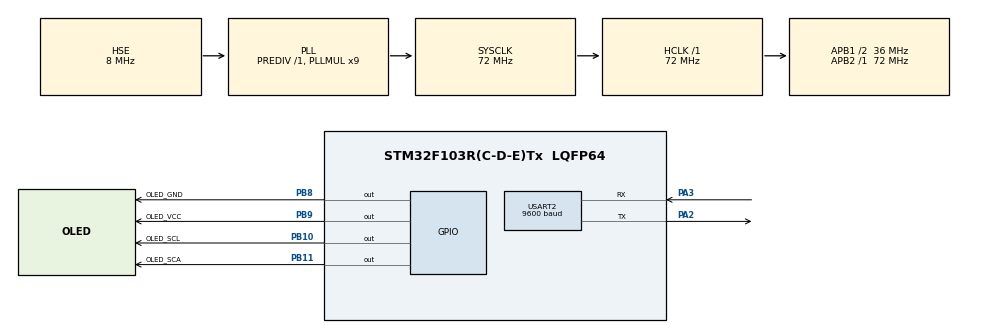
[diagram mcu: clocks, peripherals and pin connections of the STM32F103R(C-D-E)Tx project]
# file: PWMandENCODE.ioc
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FREERTOS.Queues01=myQueue01,1,uint8_t,0,Dynamic,NULL,NULL
FREERTOS.Tasks01=defaultTask,24,128,StartDefaultTask,Default,NULL,Dynamic,NULL,NULL;myTask02,8,128,StartTask02,Default,NULL,Dynamic,NULL,NULL;myTask03,8,128,StartTask03,Default,NULL,Dynamic,NULL,NULL;myTask04,8,128,StartTask04,Default,NULL,Dynamic,NULL,NULL
Mcu.Family=STM32F1
Mcu.Name=STM32F103R(C-D-E)Tx
Mcu.Package=LQFP64
NVIC.PriorityGroup=NVIC_PRIORITYGROUP_4
NVIC.TIM1_UP_IRQn=true\:5\:0\:false\:false\:true\:true\:true\:true\:true
NVIC.TIM3_IRQn=true\:15\:0\:false\:false\:true\:false\:false\:true\:true
NVIC.TimeBase=TIM3_IRQn
NVIC.TimeBaseIP=TIM3
PA13.Mode=Serial_Wire
PA13.Signal=SYS_JTMS-SWDIO
PA14.Mode=Serial_Wire
PA14.Signal=SYS_JTCK-SWCLK
PA2.Mode=Asynchronous
PA2.Signal=USART2_TX
PA3.Mode=Asynchronous
PA3.Signal=USART2_RX
PB10.GPIO_Label=OLED_SCL
PB10.GPIO_ModeDefaultOutputPP=GPIO_MODE_OUTPUT_OD
PB10.GPIO_PuPd=GPIO_NOPULL
PB10.PinState=GPIO_PIN_SET
PB10.Signal=GPIO_Output
PB11.GPIO_Label=OLED_SCA
PB11.GPIO_ModeDefaultOutputPP=GPIO_MODE_OUTPUT_OD
PB11.GPIO_PuPd=GPIO_NOPULL
PB11.PinState=GPIO_PIN_SET
PB11.Signal=GPIO_Output
PB8.GPIO_Label=OLED_GND
PB8.PinState=GPIO_PIN_RESET
PB8.Signal=GPIO_Output
PB9.GPIO_Label=OLED_VCC
PB9.PinState=GPIO_PIN_SET
PB9.Signal=GPIO_Output
PC14-OSC32_IN.Mode=LSE-External-Oscillator
PC14-OSC32_IN.Signal=RCC_OSC32_IN
PC15-OSC32_OUT.Mode=LSE-External-Oscillator
PC15-OSC32_OUT.Signal=RCC_OSC32_OUT
PD0-OSC_IN.Mode=HSE-External-Oscillator
PD0-OSC_IN.Signal=RCC_OSC_IN
PD1-OSC_OUT.Mode=HSE-External-Oscillator
PD1-OSC_OUT.Signal=RCC_OSC_OUT
ProjectManager.HeapSize=0x200
ProjectManager.StackSize=0x400
ProjectManager.TargetToolchain=MDK-ARM V5
RCC.AHBFreq_Value=72000000
RCC.APB1CLKDivider=RCC_HCLK_DIV2
RCC.APB1Freq_Value=36000000
RCC.APB1TimFreq_Value=72000000
RCC.APB2Freq_Value=72000000
RCC.APB2TimFreq_Value=72000000
RCC.HCLKFreq_Value=72000000
RCC.PLLMUL=RCC_PLL_MUL9
RCC.PLLSourceVirtual=RCC_PLLSOURCE_HSE
RCC.RTCClockSelection=RCC_RTCCLKSOURCE_LSE
RCC.SYSCLKFreq_VALUE=72000000
RCC.SYSCLKSource=RCC_SYSCLKSOURCE_PLLCLK
RCC.USBFreq_Value=72000000
RTC.AutoPrediv=RTC_AUTO_1_SECOND
RTC.Format=RTC_FORMAT_BIN
TIM1.AutoReloadPreload=TIM_AUTORELOAD_PRELOAD_ENABLE
TIM1.Period=10000
TIM1.Prescaler=72
USART2.BaudRate=9600
USART2.VirtualMode=VM_ASYNC
VP_FREERTOS_VS_CMSIS_V2.Mode=CMSIS_V2
VP_RTC_VS_RTC_Activate.Mode=RTC_Enabled
VP_RTC_VS_RTC_Calendar.Mode=RTC_Calendar
VP_SYS_VS_tim3.Mode=TIM3
VP_TIM1_VS_ClockSourceINT.Mode=Internal
board=custom

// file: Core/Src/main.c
/* USER CODE BEGIN Header */
/**
  ******************************************************************************
  * @file           : main.c
  * @brief          : Main program body
  ******************************************************************************
  * @attention
  *
  * Copyright (c) 2026 STMicroelectronics.
  * All rights reserved.
  *
  * This software is licensed under terms that can be found in the LICENSE file
  * in the root directory of this software component.
  * If no LICENSE file comes with this software, it is provided AS-IS.
  *
  ******************************************************************************
  */
/* USER CODE END Header */
#include "main.h"
#include "cmsis_os.h"
#include "rtc.h"
#include "tim.h"
#include "usart.h"
#include "gpio.h"

/* USER CODE BEGIN Includes */
#include <stdio.h>
#include <string.h>
#include <time.h>
#include "OLED.h"

/* USER CODE END Includes */

/* USER CODE BEGIN PM */
void Set_Time(void);
void Read_Time(void);
/* USER CODE END PM */

/* USER CODE BEGIN PV */
//#if (__ARMCC_VERSION >= 6010050)
//__asm(".global __use_no_semihosting\n\t"); // ARMCC6
//#else
//#pragma import(__use_no_semihosting) // ARMCC5
//#endif

uint32_t a=1,b=5;
char ch_library[4][16] __attribute__((aligned(32))) = {0};//
int fputc(int ch, FILE *f){
  uint8_t temp[1] = {ch};
  HAL_UART_Transmit(&huart2, temp, 1, 0);
	if(ch=='\n'){
		if(a!=1){
			a=15;
		}else{
			a=0;
		}
	}else{
		ch_library[(b-1)%4][a-1]=ch;
		OLED_ShowChar(4,a,(char)ch);
	}
	if(a<15){
		a++;
	}else{
		OLED_Clear();
		b++;
		for(a=0;a<=15;a++){
			ch_library[(b-1)%4][a]=0;
		}
		a=1;
	}
	if(a==1){
		OLED_ShowString(1,1,ch_library[(b)%4]);
		OLED_ShowString(2,1,ch_library[(b+1)%4]);
		OLED_ShowString(3,1,ch_library[(b+2)%4]);
	}
		HAL_Delay(50);
    return ch;
}

uint16_t time_data[7]={2026,3,20,5,1,0,0};

/* USER CODE END PV */

void SystemClock_Config(void);
void MX_FREERTOS_Init(void);

int main(void)
{

  /* MCU Configuration--------------------------------------------------------*/

  /* Reset of all peripherals, Initializes the Flash interface and the Systick. */
  HAL_Init();

  /* Configure the system clock */
  SystemClock_Config();

  /* Initialize all configured peripherals */
  MX_GPIO_Init();
  MX_RTC_Init();
  MX_USART2_UART_Init();
  MX_TIM1_Init();
  /* USER CODE BEGIN 2 */
	OLED_Init();
	printf("[Debug]main:begin %d\n",HAL_GetTick());
	printf("[Debug]main:enter RTOS\n");
  /* USER CODE END 2 */

  /* Init scheduler */
  osKernelInitialize();  /* Call init function for freertos objects (in cmsis_os2.c) */
  MX_FREERTOS_Init();

  /* Start scheduler */
  osKernelStart();

  /* We should never get here as control is now taken by the scheduler */

  /* Infinite loop */
  /* USER CODE BEGIN WHILE */
	printf("[Debug]main:enter while %d \n",HAL_GetTick());
	//printf("Set PWM Compare:%d \n",1000);
  //__HAL_TIM_SET_COMPARE(&htim2,TIM_CHANNEL_1,1000);
  Set_Time();
  OLED_Clear();
	//OLED_Horizon(6,1);
  while (1)
  {
		//OLED_Horizon(16,((i++)%512)-256);

    /* USER CODE END WHILE */

  }
}

void SystemClock_Config(void)
{
  RCC_OscInitTypeDef RCC_OscInitStruct = {0};
  RCC_ClkInitTypeDef RCC_ClkInitStruct = {0};
  RCC_PeriphCLKInitTypeDef PeriphClkInit = {0};

  /** Initializes the RCC Oscillators according to the specified parameters
  * in the RCC_OscInitTypeDef structure.
  */
  RCC_OscInitStruct.OscillatorType = RCC_OSCILLATORTYPE_HSE|RCC_OSCILLATORTYPE_LSE;
  RCC_OscInitStruct.HSEState = RCC_HSE_ON;
  RCC_OscInitStruct.HSEPredivValue = RCC_HSE_PREDIV_DIV1;
  RCC_OscInitStruct.LSEState = RCC_LSE_ON;
  RCC_OscInitStruct.HSIState = RCC_HSI_ON;
  RCC_OscInitStruct.PLL.PLLState = RCC_PLL_ON;
  RCC_OscInitStruct.PLL.PLLSource = RCC_PLLSOURCE_HSE;
  RCC_OscInitStruct.PLL.PLLMUL = RCC_PLL_MUL9;
  if (HAL_RCC_OscConfig(&RCC_OscInitStruct) != HAL_OK)
  {
    Error_Handler();
  }

  /** Initializes the CPU, AHB and APB buses clocks
  */
  RCC_ClkInitStruct.ClockType = RCC_CLOCKTYPE_HCLK|RCC_CLOCKTYPE_SYSCLK
                              |RCC_CLOCKTYPE_PCLK1|RCC_CLOCKTYPE_PCLK2;
  RCC_ClkInitStruct.SYSCLKSource = RCC_SYSCLKSOURCE_PLLCLK;
  RCC_ClkInitStruct.AHBCLKDivider = RCC_SYSCLK_DIV1;
  RCC_ClkInitStruct.APB1CLKDivider = RCC_HCLK_DIV2;
  RCC_ClkInitStruct.APB2CLKDivider = RCC_HCLK_DIV1;

  if (HAL_RCC_ClockConfig(&RCC_ClkInitStruct, FLASH_LATENCY_2) != HAL_OK)
  {
    Error_Handler();
  }
  PeriphClkInit.PeriphClockSelection = RCC_PERIPHCLK_RTC;
  PeriphClkInit.RTCClockSelection = RCC_RTCCLKSOURCE_LSE;
  if (HAL_RCCEx_PeriphCLKConfig(&PeriphClkInit) != HAL_OK)
  {
    Error_Handler();
  }
}

/* USER CODE BEGIN 4 */
void Set_Time(void)
{
  RTC_TimeTypeDef RTC_Timestructure;
  RTC_DateTypeDef RTC_Datestructure;
  RTC_Datestructure.Year=time_data[0]-1900;
  RTC_Datestructure.Month=time_data[1];
  RTC_Datestructure.Date=time_data[2];
  RTC_Datestructure.WeekDay=time_data[3];

  RTC_Timestructure.Hours=time_data[4];
  RTC_Timestructure.Minutes=time_data[5];
  RTC_Timestructure.Seconds=time_data[6];

  HAL_RTC_SetDate(&hrtc,&RTC_Datestructure,RTC_FORMAT_BIN);
  HAL_RTC_SetTime(&hrtc,&RTC_Timestructure,RTC_FORMAT_BIN);
}

void Read_Time(void)
{
  RTC_TimeTypeDef RTC_Timestructure;
  RTC_DateTypeDef RTC_Datestructure;
  HAL_RTC_GetDate(&hrtc,&RTC_Datestructure,RTC_FORMAT_BIN);
  HAL_RTC_GetTime(&hrtc,&RTC_Timestructure,RTC_FORMAT_BIN);
  time_data[0]=RTC_Datestructure.Year+1900;
  time_data[1]=RTC_Datestructure.Month;
  time_data[2]=RTC_Datestructure.Date;
  time_data[3]=RTC_Datestructure.WeekDay;

  time_data[4]=RTC_Timestructure.Hours;
  time_data[5]=RTC_Timestructure.Minutes;
  time_data[6]=RTC_Timestructure.Seconds;

}
/* USER CODE END 4 */

void HAL_TIM_PeriodElapsedCallback(TIM_HandleTypeDef *htim)
{
  if (htim->Instance == TIM3)
  {
    HAL_IncTick();
  }
}

void Error_Handler(void)
{
  /* USER CODE BEGIN Error_Handler_Debug */
  /* User can add his own implementation to report the HAL error return state */
  printf("error");
  __disable_irq();
  while (1)
  {
  }
  /* USER CODE END Error_Handler_Debug */
}

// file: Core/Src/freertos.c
/* USER CODE BEGIN Header */
/**
  ******************************************************************************
  * File Name          : freertos.c
  * Description        : Code for freertos applications
  ******************************************************************************
  * @attention
  *
  * Copyright (c) 2026 STMicroelectronics.
  * All rights reserved.
  *
  * This software is licensed under terms that can be found in the LICENSE file
  * in the root directory of this software component.
  * If no LICENSE file comes with this software, it is provided AS-IS.
  *
  ******************************************************************************
  */
/* USER CODE END Header */

#include "FreeRTOS.h"
#include "task.h"
#include "main.h"
#include "cmsis_os.h"

/* USER CODE BEGIN Includes */
#include "OLED.h"
#include <stdio.h>
#include "queue.h"
/* USER CODE END Includes */

/* Definitions for defaultTask */
osThreadId_t defaultTaskHandle;
const osThreadAttr_t defaultTask_attributes = {
  .name = "defaultTask",
  .stack_size = 128 * 4,
  .priority = (osPriority_t) osPriorityNormal,
};
/* Definitions for myTask02 */
osThreadId_t myTask02Handle;
const osThreadAttr_t myTask02_attributes = {
  .name = "myTask02",
  .stack_size = 128 * 4,
  .priority = (osPriority_t) osPriorityLow,
};
/* Definitions for myTask03 */
osThreadId_t myTask03Handle;
const osThreadAttr_t myTask03_attributes = {
  .name = "myTask03",
  .stack_size = 128 * 4,
  .priority = (osPriority_t) osPriorityLow,
};
/* Definitions for myTask04 */
osThreadId_t myTask04Handle;
const osThreadAttr_t myTask04_attributes = {
  .name = "myTask04",
  .stack_size = 128 * 4,
  .priority = (osPriority_t) osPriorityLow,
};
/* Definitions for myQueue01 */
osMessageQueueId_t myQueue01Handle;
const osMessageQueueAttr_t myQueue01_attributes = {
  .name = "myQueue01"
};

void StartDefaultTask(void *argument);
void StartTask02(void *argument);
void StartTask03(void *argument);
void StartTask04(void *argument);

void MX_FREERTOS_Init(void); /* (MISRA C 2004 rule 8.1) */

void MX_FREERTOS_Init(void) {

  /* Create the queue(s) */
  /* creation of myQueue01 */
  myQueue01Handle = osMessageQueueNew (1, sizeof(uint8_t), &myQueue01_attributes);

  /* Create the thread(s) */
  /* creation of defaultTask */
  defaultTaskHandle = osThreadNew(StartDefaultTask, NULL, &defaultTask_attributes);

  /* creation of myTask02 */
  myTask02Handle = osThreadNew(StartTask02, NULL, &myTask02_attributes);

  /* creation of myTask03 */
  myTask03Handle = osThreadNew(StartTask03, NULL, &myTask03_attributes);

  /* creation of myTask04 */
  myTask04Handle = osThreadNew(StartTask04, NULL, &myTask04_attributes);

}

void StartDefaultTask(void *argument)
{
  /* USER CODE BEGIN StartDefaultTask */
  /* Infinite loop */
  for(;;)
  {
    osDelay(10);
  }
  /* USER CODE END StartDefaultTask */
}

void StartTask02(void *argument)
{
  /* USER CODE BEGIN StartTask02 */
  /* Infinite loop */
  for(;;)
  {
		uint8_t b;
		xQueueReceive(myQueue01Handle,&b,portMAX_DELAY);
    //OLED_Horizon(16,((i++)%512)-256);
		printf("this is task2\n");
		printf("%d\n",b);
		portYIELD();
  }
  /* USER CODE END StartTask02 */
}

void StartTask03(void *argument)
{
	uint8_t a=1;
  /* USER CODE BEGIN StartTask03 */
  /* Infinite loop */
  for(;;)
  {
		//OLED_Clear();
		xQueueSend(myQueue01Handle,&a,portMAX_DELAY);
		a++;
  }
  /* USER CODE END StartTask03 */
}

void StartTask04(void *argument)
{
  /* USER CODE BEGIN StartTask04 */
  /* Infinite loop */
  for(;;)
  {
    osDelay(10);
  }
  /* USER CODE END StartTask04 */
}
